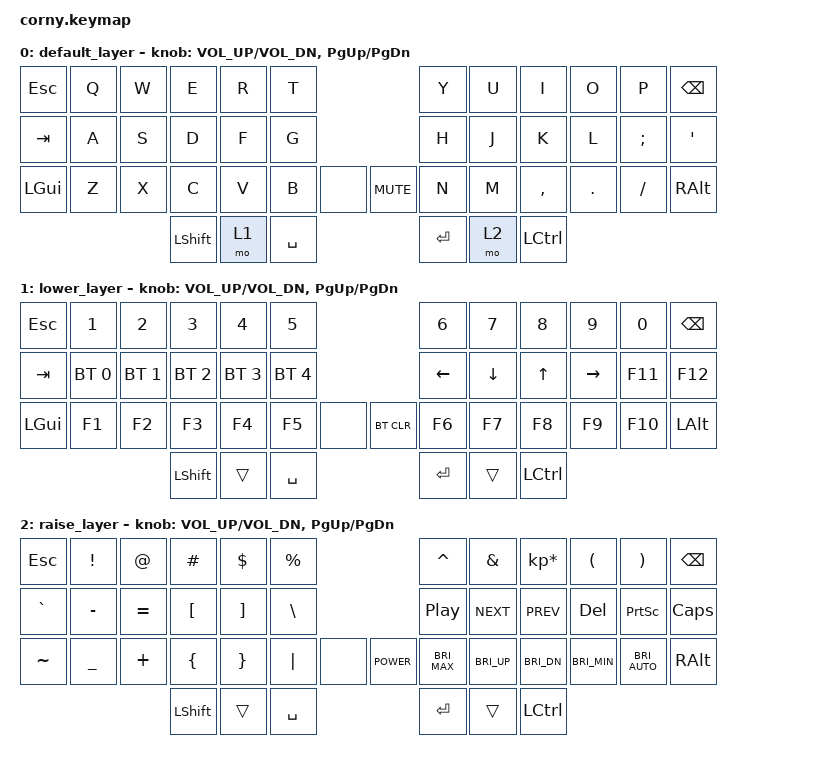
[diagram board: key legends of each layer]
#include <behaviors.dtsi>
#include <dt-bindings/zmk/keys.h>
#include <dt-bindings/zmk/bt.h>

/ {
        keymap {
                compatible = "zmk,keymap";

                default_layer {
// --------------------------------------------------------------------------------------------------
// | ESC |  Q  |  W  |  E   |  R  |  T  |                    |  Y  |  U   |  I   |  O  |  P  | BKSP |
// | TAB |  A  |  S  |  D   |  F  |  G  |                    |  H  |  J   |  K   |  L  |  ;  |  '   |
// | GUI |  Z  |  X  |  C   |  V  |  B  |        |  |  MUTE  |  N  |  M   |  ,   |  .  |  /  | RALT |
//                   | SHFT | LWR | SPC |                    | ENT | RSE  | CTRL |
                        bindings = <
   &kp ESC  &kp Q &kp W &kp E     &kp R &kp T                       &kp Y   &kp U   &kp I     &kp O   &kp P    &kp BSPC
   &kp TAB  &kp A &kp S &kp D     &kp F &kp G                       &kp H   &kp J   &kp K     &kp L   &kp SEMI &kp SQT
   &kp LGUI &kp Z &kp X &kp C     &kp V &kp B   &none   &kp C_MUTE  &kp N   &kp M   &kp COMMA &kp DOT &kp FSLH &kp RALT
                        &kp LSHFT &mo 1 &kp SPACE                   &kp RET &mo 2   &kp LCTRL
                        >;

                        sensor-bindings = <&inc_dec_kp C_VOL_UP C_VOL_DN &inc_dec_kp PG_UP PG_DN>;
                };
                lower_layer {
// -------------------------------------------------------------------------------------------------
// | ESC |  1  |  2  |  3   |  4  |  5  |                    |  6  |  7  |   8  |  9  |  0  | BKSP |
// | TAB | BT0 | BT1 | BT2  | BT3 | BT4 |                    | LFT | DWN |  UP  | RGT | F11 | F12  |
// | GUI | F1  | F2  | F3   | F4  | F5  |        |  |  BTCLR | F6  | F7  |  F8  | F9  | F10 | ALT  |
//                   | SHFT |     | SPC |                    | ENT |     | CTRL |
                        bindings = <
   &kp ESC    &kp N1        &kp N2       &kp N3       &kp N4       &kp N5                          &kp N6   &kp N7   &kp N8 &kp N9    &kp N0  &kp BSPC
   &kp TAB    &bt BT_SEL 0  &bt BT_SEL 1 &bt BT_SEL 2 &bt BT_SEL 3 &bt BT_SEL 4                    &kp LEFT &kp DOWN &kp UP &kp RIGHT &kp F11 &kp F12
   &kp LGUI   &kp F1        &kp F2       &kp F3       &kp F4       &kp F5      &none  &bt BT_CLR   &kp F6   &kp F7   &kp F8 &kp F9    &kp F10 &kp LALT
                                         &kp LSHFT    &trans       &kp SPACE                       &kp RET  &trans   &kp LCTRL
                        >;

                        sensor-bindings = <&inc_dec_kp C_VOL_UP C_VOL_DN &inc_dec_kp PG_UP PG_DN>;
                };

                raise_layer {
// ------------------------------------------------------------------------------------------------------------------
// | ESC |  !  |  @  |  #   |  $  |  %  |                   |    ^    |   &    |    *   |    (    |     )    | BKSP |
// | `   |  -  |  =  |  [   |  ]  |  \  |                   |  M P/P  | M NEXT | M PREV |   DEL   |  PSCRN   | CAPS |
// | ~   |  _  |  +  |  {   |  }  |  |  |        |  | POWER | BRI MAX | BRI UP | BRI DN | BRI MIN | BRI AUTO | RALT |
//                   | SHFT |     | SPC |                   |   ENT   |        |  CTRL  |
                        bindings = <
   &kp ESC   &kp EXCL  &kp AT    &kp HASH  &kp DLLR &kp PRCNT                     &kp CARET      &kp AMPS      &kp KP_MULTIPLY &kp LPAR       &kp RPAR        &kp BSPC
   &kp GRAVE &kp MINUS &kp EQUAL &kp LBKT  &kp RBKT &kp BSLH                      &kp C_PP       &kp C_NEXT    &kp C_PREV      &kp DEL        &kp PSCRN       &kp CAPS
   &kp TILDE &kp UNDER &kp PLUS  &kp LBRC  &kp RBRC &kp PIPE  &none  &kp C_POWER  &kp C_BRI_MAX  &kp C_BRI_UP  &kp C_BRI_DN    &kp C_BRI_MIN  &kp C_BRI_AUTO  &kp RALT
                                 &kp LSHFT &trans   &kp SPACE                     &kp RET        &trans        &kp LCTRL
                        >;

                        sensor-bindings = <&inc_dec_kp C_VOL_UP C_VOL_DN &inc_dec_kp PG_UP PG_DN>;
                };
        };
};
